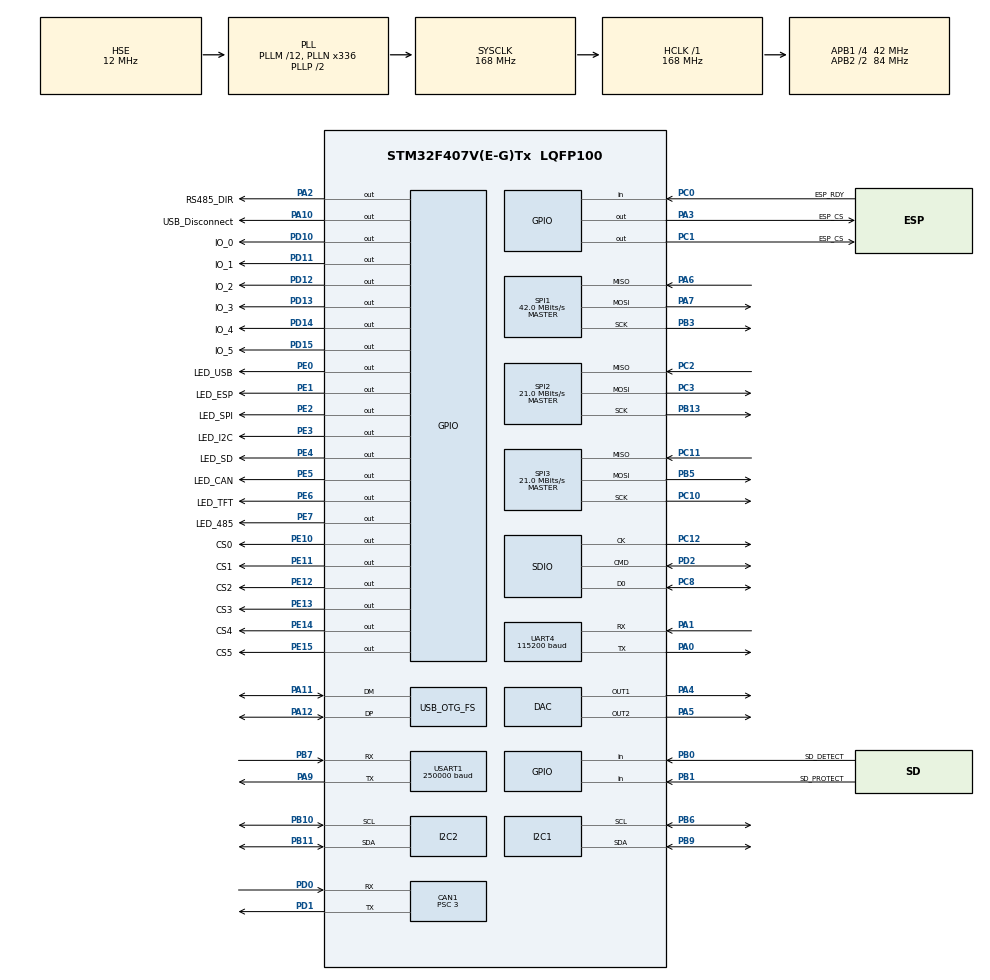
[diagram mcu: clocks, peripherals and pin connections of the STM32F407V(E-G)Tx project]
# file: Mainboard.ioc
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CAN1.BS1=CAN_BS1_11TQ
CAN1.BS2=CAN_BS2_2TQ
CAN1.CalculateBaudRate=1000000
CAN1.CalculateTimeBit=1000
CAN1.CalculateTimeQuantum=71.42857142857143
CAN1.Prescaler=3
I2C1.I2C_Mode=I2C_Fast
Mcu.Family=STM32F4
Mcu.Name=STM32F407V(E-G)Tx
Mcu.Package=LQFP100
NVIC.CAN1_RX0_IRQn=true\:0\:0\:false\:false\:true\:true\:true\:true
NVIC.OTG_FS_IRQn=true\:0\:0\:false\:false\:true\:false\:true\:true
NVIC.PriorityGroup=NVIC_PRIORITYGROUP_4
NVIC.USART1_IRQn=true\:0\:0\:false\:false\:true\:true\:true\:true
PA0-WKUP.Mode=Asynchronous
PA0-WKUP.Signal=UART4_TX
PA1.Mode=Asynchronous
PA1.Signal=UART4_RX
PA10.GPIO_Label=USB_Disconnect
PA10.Signal=GPIO_Output
PA11.Mode=Device_Only
PA11.Signal=USB_OTG_FS_DM
PA12.Mode=Device_Only
PA12.Signal=USB_OTG_FS_DP
PA13.Mode=Serial_Wire
PA13.Signal=SYS_JTMS-SWDIO
PA14.Mode=Serial_Wire
PA14.Signal=SYS_JTCK-SWCLK
PA2.GPIO_Label=RS485_DIR
PA2.Signal=GPIO_Output
PA3.GPIO_Label=ESP_CS
PA3.Signal=GPIO_Output
PA4.Signal=COMP_DAC1_group
PA5.Signal=COMP_DAC2_group
PA6.Mode=Full_Duplex_Master
PA6.Signal=SPI1_MISO
PA7.Mode=Full_Duplex_Master
PA7.Signal=SPI1_MOSI
PA9.Mode=Asynchronous
PA9.Signal=USART1_TX
PB0.GPIO_Label=SD_DETECT
PB0.Signal=GPIO_Input
PB1.GPIO_Label=SD_PROTECT
PB1.Signal=GPIO_Input
PB10.Mode=I2C
PB10.Signal=I2C2_SCL
PB11.Mode=I2C
PB11.Signal=I2C2_SDA
PB13.Mode=Full_Duplex_Master
PB13.Signal=SPI2_SCK
PB3.Mode=Full_Duplex_Master
PB3.Signal=SPI1_SCK
PB5.Mode=Full_Duplex_Master
PB5.Signal=SPI3_MOSI
PB6.Mode=I2C
PB6.Signal=I2C1_SCL
PB7.Mode=Asynchronous
PB7.Signal=USART1_RX
PB9.Mode=I2C
PB9.Signal=I2C1_SDA
PC0.GPIO_Label=ESP_RDY
PC0.Signal=GPIO_Input
PC1.GPIO_Label=ESP_CS
PC1.Signal=GPIO_Output
PC10.Mode=Full_Duplex_Master
PC10.Signal=SPI3_SCK
PC11.Mode=Full_Duplex_Master
PC11.Signal=SPI3_MISO
PC12.Mode=SD_1_bit
PC12.Signal=SDIO_CK
PC14-OSC32_IN.Mode=LSE-External-Oscillator
PC14-OSC32_IN.Signal=RCC_OSC32_IN
PC15-OSC32_OUT.Mode=LSE-External-Oscillator
PC15-OSC32_OUT.Signal=RCC_OSC32_OUT
PC2.Mode=Full_Duplex_Master
PC2.Signal=SPI2_MISO
PC3.Mode=Full_Duplex_Master
PC3.Signal=SPI2_MOSI
PC8.Mode=SD_1_bit
PC8.Signal=SDIO_D0
PD0.Mode=CAN_Activate
PD0.Signal=CAN1_RX
PD1.Mode=CAN_Activate
PD1.Signal=CAN1_TX
PD10.GPIO_Label=IO_0
PD10.Signal=GPIO_Output
PD11.GPIO_Label=IO_1
PD11.Signal=GPIO_Output
PD12.GPIO_Label=IO_2
PD12.Signal=GPIO_Output
PD13.GPIO_Label=IO_3
PD13.Signal=GPIO_Output
PD14.GPIO_Label=IO_4
PD14.Signal=GPIO_Output
PD15.GPIO_Label=IO_5
PD15.Signal=GPIO_Output
PD2.Mode=SD_1_bit
PD2.Signal=SDIO_CMD
PE0.GPIO_Label=LED_USB
PE0.Signal=GPIO_Output
PE1.GPIO_Label=LED_ESP
PE1.Signal=GPIO_Output
PE10.GPIO_Label=CS0
PE10.Signal=GPIO_Output
PE11.GPIO_Label=CS1
PE11.Signal=GPIO_Output
PE12.GPIO_Label=CS2
PE12.Signal=GPIO_Output
PE13.GPIO_Label=CS3
PE13.Signal=GPIO_Output
PE14.GPIO_Label=CS4
PE14.Signal=GPIO_Output
PE15.GPIO_Label=CS5
PE15.Signal=GPIO_Output
PE2.GPIO_Label=LED_SPI
PE2.Signal=GPIO_Output
PE3.GPIO_Label=LED_I2C
PE3.Signal=GPIO_Output
PE4.GPIO_Label=LED_SD
PE4.Signal=GPIO_Output
PE5.GPIO_Label=LED_CAN
PE5.Signal=GPIO_Output
PE6.GPIO_Label=LED_TFT
PE6.Signal=GPIO_Output
PE7.GPIO_Label=LED_485
PE7.Signal=GPIO_Output
PH0-OSC_IN.Mode=HSE-External-Oscillator
PH0-OSC_IN.Signal=RCC_OSC_IN
PH1-OSC_OUT.Mode=HSE-External-Oscillator
PH1-OSC_OUT.Signal=RCC_OSC_OUT
ProjectManager.HeapSize=0x200
ProjectManager.StackSize=0x400
ProjectManager.TargetToolchain=EWARM V8.50
RCC.48MHZClocksFreq_Value=48000000
RCC.AHBFreq_Value=168000000
RCC.APB1CLKDivider=RCC_HCLK_DIV4
RCC.APB1Freq_Value=42000000
RCC.APB1TimFreq_Value=84000000
RCC.APB2CLKDivider=RCC_HCLK_DIV2
RCC.APB2Freq_Value=84000000
RCC.APB2TimFreq_Value=168000000
RCC.CortexFreq_Value=168000000
RCC.HCLKFreq_Value=168000000
RCC.HSE_VALUE=12000000
RCC.HSI_VALUE=16000000
RCC.PLLM=12
RCC.PLLN=336
RCC.PLLQ=7
RCC.RCC_RTC_Clock_SourceVirtual=RCC_RTCCLKSOURCE_LSE
RCC.SYSCLKFreq_VALUE=168000000
RCC.SYSCLKSource=RCC_SYSCLKSOURCE_PLLCLK
RCC.VCOOutputFreq_Value=336000000
SDIO.HardwareFlowControl=SDIO_HARDWARE_FLOW_CONTROL_DISABLE
SH.COMP_DAC1_group.0=DAC_OUT1,DAC_OUT1
SH.COMP_DAC2_group.0=DAC_OUT2,DAC_OUT2
SPI1.BaudRatePrescaler=SPI_BAUDRATEPRESCALER_2
SPI1.CalculateBaudRate=42.0 MBits/s
SPI1.Direction=SPI_DIRECTION_2LINES
SPI1.Mode=SPI_MODE_MASTER
SPI1.VirtualType=VM_MASTER
SPI2.BaudRatePrescaler=SPI_BAUDRATEPRESCALER_2
SPI2.CalculateBaudRate=21.0 MBits/s
SPI2.Direction=SPI_DIRECTION_2LINES
SPI2.Mode=SPI_MODE_MASTER
SPI2.VirtualType=VM_MASTER
SPI3.BaudRatePrescaler=SPI_BAUDRATEPRESCALER_2
SPI3.CalculateBaudRate=21.0 MBits/s
SPI3.Direction=SPI_DIRECTION_2LINES
SPI3.Mode=SPI_MODE_MASTER
SPI3.VirtualType=VM_MASTER
UART4.BaudRate=115200
UART4.VirtualMode=Asynchronous
USART1.BaudRate=250000
USART1.VirtualMode=VM_ASYNC
USB_DEVICE.CLASS_NAME_FS=CDC
USB_DEVICE.VirtualMode-CDC_FS=Cdc
USB_DEVICE.VirtualModeFS=Cdc_FS
USB_OTG_FS.VirtualMode=Device_Only
VP_RTC_VS_RTC_Activate.Mode=RTC_Enabled
VP_RTC_VS_RTC_Calendar.Mode=RTC_Calendar
VP_TIM1_VS_ClockSourceINT.Mode=Internal
VP_TIM2_VS_ClockSourceINT.Mode=Internal
VP_TIM3_VS_ClockSourceINT.Mode=Internal
VP_TIM4_VS_ClockSourceINT.Mode=Internal
VP_TIM5_VS_ClockSourceINT.Mode=Internal
VP_USB_DEVICE_VS_USB_DEVICE_CDC_FS.Mode=CDC_FS
board=custom

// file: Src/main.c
/* USER CODE BEGIN Header */
/**
  ******************************************************************************
  * @file           : main.c
  * @brief          : Main program body
  ******************************************************************************
  * @attention
  *
  * Copyright (c) 2024 STMicroelectronics.
  * All rights reserved.
  *
  * This software is licensed under terms that can be found in the LICENSE file
  * in the root directory of this software component.
  * If no LICENSE file comes with this software, it is provided AS-IS.
  *
  ******************************************************************************
  */
/* USER CODE END Header */
#include "main.h"
#include "can.h"
#include "dac.h"
#include "i2c.h"
#include "rtc.h"
#include "sdio.h"
#include "spi.h"
#include "tim.h"
#include "usart.h"
#include "usb_device.h"
#include "gpio.h"

/* USER CODE BEGIN Includes */
#include "usbd_cdc_if.h"
#include "tft.h"
#include "modlab.h"
#include <stdio.h>
#include "usb_mon.h"
/* USER CODE END Includes */

/* USER CODE BEGIN PV */
uint16_t counter;
uint32_t tick_loop;
uint32_t tick_loop_old;

uint8_t address = 0;
/* USER CODE END PV */

void SystemClock_Config(void);
/* USER CODE BEGIN PFP */
void LEDs_Off(void);
void CAN_Filter (void);
/* USER CODE END PFP */

int main(void)
{

  /* MCU Configuration--------------------------------------------------------*/

  /* Reset of all peripherals, Initializes the Flash interface and the Systick. */
  HAL_Init();

  /* Configure the system clock */
  SystemClock_Config();

  /* Initialize all configured peripherals */
  MX_GPIO_Init();
  MX_CAN1_Init();
  MX_DAC_Init();
  MX_I2C1_Init();
  MX_I2C2_Init();
  MX_RTC_Init();
  MX_SDIO_SD_Init();
  MX_SPI1_Init();
  MX_SPI2_Init();
  MX_SPI3_Init();
  MX_TIM1_Init();
  MX_TIM2_Init();
  MX_TIM3_Init();
  MX_TIM4_Init();
  MX_TIM5_Init();
  MX_UART4_Init();
  MX_USART1_UART_Init();
  MX_USB_DEVICE_Init();
  /* USER CODE BEGIN 2 */

  timer_init();

  LEDs_Off();
  HAL_GPIO_WritePin(USB_Disconnect_GPIO_Port, USB_Disconnect_Pin, 1);
  HAL_Delay(200);
  //HAL_GPIO_WritePin(USB_Disconnect_GPIO_Port, USB_Disconnect_Pin, 0);

  CAN_Filter();
  HAL_CAN_Start(&hcan1);
  HAL_CAN_ActivateNotification(&hcan1, CAN_IT_RX_FIFO0_MSG_PENDING);

  tft_init();
  HAL_UART_Receive_IT(&huart1, RxBuffer, 1); // Get TFT Command
  __enable_irq();

  HAL_Delay(500);
	scan_dev();

//https://controllerstech.com/can-protocol-in-stm32/

  HAL_Delay(500);
  tft_reset();

  tick_loop = HAL_GetTick() + 1000;

  /* USER CODE END 2 */

  /* Infinite loop */
  while (1)
  {

    /* USER CODE BEGIN 3 */
    if((tft_cmd == CMD_PAGESET) && (setdata == 1))
    {
      HAL_Delay(10);
      enableblock = 1;
      setdata = 0;
    }

    switch (tft_page)
    {
      case PAGE_MAIN:
        main_page_loop();
        break;
      case PAGE_DTEST:
        diode_page_loop();
        break;
      case PAGE_FGEN:
        fgen_page_loop();
        break;
      case PAGE_SYMPSU:
        sympsu_page_loop();
        break;
      case PAGE_SMPS:
        smps_page_loop();
        break;
      case PAGE_LOAD:
        load_page_loop();
        break;
    }

    if(tick_loop < (HAL_GetTick() - 1000))
    {
      tick_loop = HAL_GetTick();
      sprintf(out_buf, "USB Test Zyklus, Tick-Time = %d\n", HAL_GetTick());
      CDC_Transmit_FS((uint8_t *)out_buf, strlen(out_buf));
    }
  }
  /* USER CODE END 3 */
}

void SystemClock_Config(void)
{
  RCC_OscInitTypeDef RCC_OscInitStruct = {0};
  RCC_ClkInitTypeDef RCC_ClkInitStruct = {0};

  /** Configure the main internal regulator output voltage
  */
  __HAL_RCC_PWR_CLK_ENABLE();
  __HAL_PWR_VOLTAGESCALING_CONFIG(PWR_REGULATOR_VOLTAGE_SCALE1);

  /** Initializes the RCC Oscillators according to the specified parameters
  * in the RCC_OscInitTypeDef structure.
  */
  RCC_OscInitStruct.OscillatorType = RCC_OSCILLATORTYPE_HSE|RCC_OSCILLATORTYPE_LSE;
  RCC_OscInitStruct.HSEState = RCC_HSE_ON;
  RCC_OscInitStruct.LSEState = RCC_LSE_ON;
  RCC_OscInitStruct.PLL.PLLState = RCC_PLL_ON;
  RCC_OscInitStruct.PLL.PLLSource = RCC_PLLSOURCE_HSE;
  RCC_OscInitStruct.PLL.PLLM = 12;
  RCC_OscInitStruct.PLL.PLLN = 336;
  RCC_OscInitStruct.PLL.PLLP = RCC_PLLP_DIV2;
  RCC_OscInitStruct.PLL.PLLQ = 7;
  if (HAL_RCC_OscConfig(&RCC_OscInitStruct) != HAL_OK)
  {
    Error_Handler();
  }

  /** Initializes the CPU, AHB and APB buses clocks
  */
  RCC_ClkInitStruct.ClockType = RCC_CLOCKTYPE_HCLK|RCC_CLOCKTYPE_SYSCLK
                              |RCC_CLOCKTYPE_PCLK1|RCC_CLOCKTYPE_PCLK2;
  RCC_ClkInitStruct.SYSCLKSource = RCC_SYSCLKSOURCE_PLLCLK;
  RCC_ClkInitStruct.AHBCLKDivider = RCC_SYSCLK_DIV1;
  RCC_ClkInitStruct.APB1CLKDivider = RCC_HCLK_DIV4;
  RCC_ClkInitStruct.APB2CLKDivider = RCC_HCLK_DIV2;

  if (HAL_RCC_ClockConfig(&RCC_ClkInitStruct, FLASH_LATENCY_5) != HAL_OK)
  {
    Error_Handler();
  }
}

/* USER CODE BEGIN 4 */

void HAL_UART_RxCpltCallback(UART_HandleTypeDef *huart)
{

  /**
   * TFT Interrupt Functions
  */
  tft_parse();

}

void HAL_CAN_RxFifo0MsgPendingCallback(CAN_HandleTypeDef *hcan)
{
  if (HAL_CAN_GetRxMessage(hcan, CAN_RX_FIFO0, &RxHeader, RxData) != HAL_OK)
  {
    Error_Handler();
  }

  can_parse();
}

void CAN_Filter (void)
{
  //no filtering, Message types decoded in interrupt
  CAN_FilterTypeDef canfilterconfig;

  canfilterconfig.FilterActivation = CAN_FILTER_ENABLE;
  canfilterconfig.FilterBank = 0;
  canfilterconfig.FilterFIFOAssignment = CAN_FILTER_FIFO0;
  canfilterconfig.FilterIdHigh = 0x0000;
  canfilterconfig.FilterIdLow = 0;
  canfilterconfig.FilterMaskIdHigh = 0;
  canfilterconfig.FilterMaskIdLow = 0x0000;
  canfilterconfig.FilterMode = CAN_FILTERMODE_IDMASK;
  canfilterconfig.FilterScale = CAN_FILTERSCALE_32BIT;
  canfilterconfig.SlaveStartFilterBank = 1;

  HAL_CAN_ConfigFilter(&hcan1, &canfilterconfig);
}

void LEDs_Off(void)
{
  HAL_GPIO_WritePin(LED_CAN_GPIO_Port,  LED_CAN_Pin,  0);   //CAN
  HAL_GPIO_WritePin(LED_485_GPIO_Port,  LED_485_Pin,  0);   //485
  HAL_GPIO_WritePin(LED_I2C_GPIO_Port, LED_I2C_Pin, 0);   //I2C1
  HAL_GPIO_WritePin(LED_ESP_GPIO_Port,  LED_ESP_Pin,  0);   //ESP
  HAL_GPIO_WritePin(LED_SD_GPIO_Port,   LED_SD_Pin,   0);   //SD
  HAL_GPIO_WritePin(LED_SPI_GPIO_Port, LED_SPI_Pin, 0);   //SPI3
  HAL_GPIO_WritePin(LED_USB_GPIO_Port,   LED_USB_Pin,   0);   //USB
  HAL_GPIO_WritePin(LED_TFT_GPIO_Port, LED_TFT_Pin, 0);   //TFT
}

/* USER CODE END 4 */

void Error_Handler(void)
{
  __disable_irq();
  while (1)
  {
  }
}
